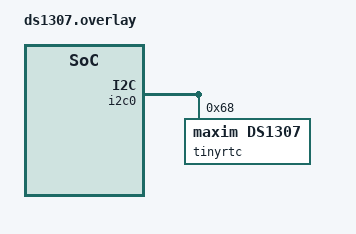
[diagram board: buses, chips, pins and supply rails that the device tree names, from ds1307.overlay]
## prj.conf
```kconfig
# Enable Peripheral
CONFIG_I2C=y
CONFIG_RTC=y
CONFIG_RTC_DS1307=y

# Enable SHELL
# CONFIG_SHELL=y
# CONFIG_I2C_SHELL=y
# CONFIG_RTC_SHELL=y

# Enable Log
# CONFIG_LOG=y
```

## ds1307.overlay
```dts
&i2c0 {
    status = "okay";

    tinyrtc: ds1307@68 {
        compatible = "maxim,ds1307";
        reg = <0x68>;
    };
};
```

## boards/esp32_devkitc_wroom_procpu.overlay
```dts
/*
 * Copyright (c) 2024 Muhammad Waleed Badar
 *
 * SPDX-License-Identifier: Apache-2.0
 */

&i2c0 {
	status = "okay";
	clock-frequency = <I2C_BITRATE_STANDARD>;
	sda-gpios = <&gpio0 21 GPIO_OPEN_DRAIN>;
	scl-gpios = <&gpio0 22 GPIO_OPEN_DRAIN>;
	pinctrl-0 = <&i2c0_default>;
	pinctrl-names = "default";

	rtc0: ds1307@68 {
        compatible = "maxim,ds1307";
        reg = <0x68>;
    };
};
```

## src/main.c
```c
/*
 * Copyright (c) 2024 Muhammad Waleed Badar
 *
 * SPDX-License-Identifier: Apache-2.0
 */

#include <zephyr/kernel.h>
#include <zephyr/device.h>
#include <zephyr/drivers/rtc.h>
#include <zephyr/sys/util.h>

const struct device *const rtc = DEVICE_DT_GET(DT_NODELABEL(rtc0));

static int set_date_time(const struct device *rtc)
{
	int ret = 0;
	struct rtc_time tm = {
		.tm_year = 2024 - 1900,
		.tm_mon = 11 - 1,
		.tm_mday = 17,
		.tm_hour = 4,
		.tm_min = 19,
		.tm_sec = 0,
	};

	ret = rtc_set_time(rtc, &tm);
	if (ret < 0) {
		printk("Cannot write date time: %d\n", ret);
		return ret;
	}
	return ret;
}

static int get_date_time(const struct device *rtc)
{
	int ret = 0;
	struct rtc_time tm;

	ret = rtc_get_time(rtc, &tm);
	if (ret < 0) {
		printk("Cannot read date time: %d\n", ret);
		return ret;
	}

	printk("RTC date and time: %04d-%02d-%02d %02d:%02d:%02d\n", tm.tm_year + 1900,
	       tm.tm_mon + 1, tm.tm_mday, tm.tm_hour, tm.tm_min, tm.tm_sec);

	return ret;
}

int main(void)
{
	/* Check if the RTC is ready */
	if (!device_is_ready(rtc)) {
		printk("Device is not ready\n");
		return 0;
	}

	set_date_time(rtc);

	/* Continuously read the current date and time from the RTC */
	while (get_date_time(rtc) == 0) {
		k_sleep(K_MSEC(1000));
	};
	return 0;
}
```
